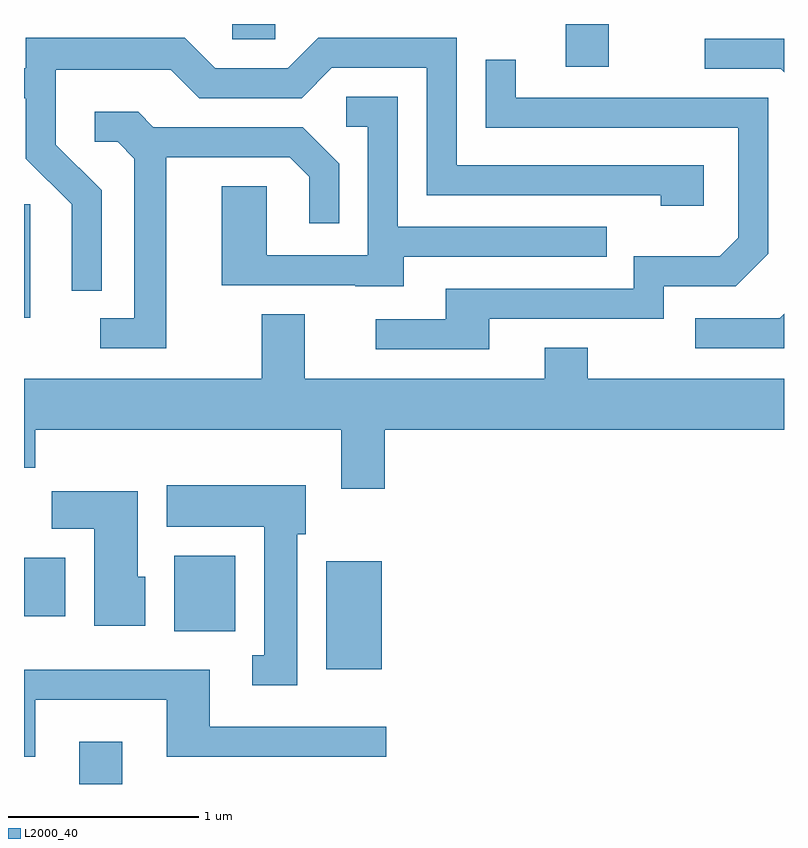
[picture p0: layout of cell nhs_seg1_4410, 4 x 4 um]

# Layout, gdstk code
import gdstk
lib = gdstk.Library(unit=1e-6, precision=1e-09)
def R(c, l, rs):  # rectangles x0, y0, x1, y1
    for r in rs: c.add(gdstk.rectangle(r[:2], r[2:], *l))
def P(c, l, *ps):  # polygons
    for p in ps: c.add(gdstk.Polygon(p, *l))
L2000_40 = (2000, 40)

nhs_seg1_4410 = lib.new_cell('nhs_seg1_4410')
R(nhs_seg1_4410, L2000_40, [(317.901,897.712,318.129,897.934), (319.201,898.316,319.494,898.884), (318.401,898.516,318.724,898.914), (317.611,898.596,317.829,898.904), (317.611,900.166,317.644,900.764), (320.461,901.486,320.689,901.712), (318.706,901.631,318.934,901.712)])
P(nhs_seg1_4410, L2000_40, [(318.019,900.837),(317.779,901.077),(317.779,901.471),(318.384,901.471),(318.534,901.321),(319.072,901.321),(319.232,901.481),(319.731,901.481),(319.731,900.811),(320.961,900.811),(320.961,900.756),(321.189,900.756),(321.189,900.969),(319.889,900.969),(319.889,901.639),(319.159,901.639),(318.999,901.479),(318.617,901.479),(318.457,901.639),(317.621,901.639),(317.621,901.479),(317.611,901.479),(317.611,901.321),(317.621,901.321),(317.621,901.004),(317.861,900.764),(317.861,900.308),(318.019,900.308)],
  [(321.611,901.634),(321.193,901.634),(321.193,901.476),(321.594,901.476),(321.611,901.459)],
  [(320.059,900.161),(320.979,900.161),(320.979,900.331),(321.357,900.331),(321.529,900.504),(321.529,901.324),(320.199,901.324),(320.199,901.523),(320.041,901.523),(320.041,901.166),(321.371,901.166),(321.371,900.587),(321.274,900.489),(320.821,900.489),(320.821,900.319),(319.831,900.319),(319.831,900.159),(319.463,900.159),(319.463,900.001),(320.059,900.001)],
  [(319.609,900.486),(320.678,900.486),(320.678,900.644),(319.579,900.644),(319.579,901.329),(319.308,901.329),(319.308,901.171),(319.421,901.171),(319.421,900.494),(318.889,900.494),(318.889,900.859),(318.651,900.859),(318.651,900.336),(319.355,900.336),(319.355,900.331),(319.609,900.331)],
  [(318.359,901.011),(319.009,901.011),(319.111,900.909),(319.111,900.663),(319.269,900.663),(319.269,900.977),(319.077,901.169),(318.292,901.169),(318.212,901.249),(317.983,901.249),(317.983,901.091),(318.104,901.091),(318.191,901.004),(318.191,900.164),(318.013,900.164),(318.013,900.006),(318.359,900.006)],
  [(321.611,900.186),(321.589,900.164),(321.143,900.164),(321.143,900.006),(321.611,900.006)],
  [(319.509,899.576),(321.611,899.576),(321.611,899.844),(320.579,899.844),(320.579,900.009),(320.351,900.009),(320.351,899.844),(319.089,899.844),(319.089,900.184),(318.861,900.184),(318.861,899.844),(317.611,899.844),(317.611,899.376),(317.669,899.376),(317.669,899.576),(319.281,899.576),(319.281,899.266),(319.509,899.266)],
  [(319.049,899.026),(319.094,899.026),(319.094,899.284),(318.361,899.284),(318.361,899.066),(318.876,899.066),(318.876,898.389),(318.813,898.389),(318.813,898.231),(319.049,898.231)],
  [(318.249,898.804),(318.209,898.804),(318.209,899.254),(317.756,899.254),(317.756,899.056),(317.981,899.056),(317.981,898.546),(318.249,898.546)],
  [(317.669,898.156),(318.361,898.156),(318.361,897.856),(319.518,897.856),(319.518,898.014),(318.589,898.014),(318.589,898.314),(317.611,898.314),(317.611,897.856),(317.669,897.856)])

lib.write_gds('nhs_seg1_4410.gds')
